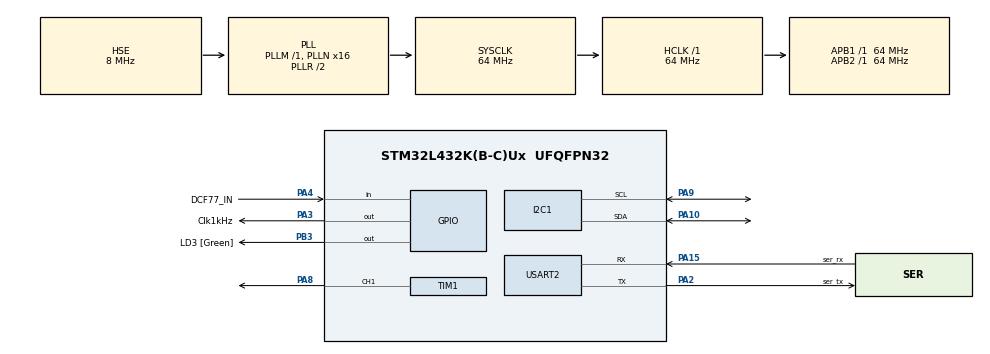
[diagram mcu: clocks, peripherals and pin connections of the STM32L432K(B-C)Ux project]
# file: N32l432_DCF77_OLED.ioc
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I2C1.Timing=0x10707DBC
Mcu.Family=STM32L4
Mcu.Name=STM32L432K(B-C)Ux
Mcu.Package=UFQFPN32
NVIC.PriorityGroup=NVIC_PRIORITYGROUP_4
NVIC.TIM1_BRK_TIM15_IRQn=true\:0\:0\:false\:false\:true\:true\:true\:true
NVIC.TIM1_CC_IRQn=true\:0\:0\:false\:false\:true\:true\:true\:true
NVIC.TIM1_TRG_COM_IRQn=true\:0\:0\:false\:false\:true\:true\:true\:true
NVIC.TIM1_UP_TIM16_IRQn=true\:0\:0\:false\:true\:true\:1\:true\:true\:true
PA0.GPIO_Label=MCO [High speed clock in]
PA0.Mode=HSE-External-Clock-Source-for-LittleOrca
PA0.Signal=RCC_CK_IN
PA10.Mode=I2C
PA10.Signal=I2C1_SDA
PA13\ (JTMS-SWDIO).GPIO_Label=SWDIO
PA13\ (JTMS-SWDIO).Mode=Serial_Wire
PA13\ (JTMS-SWDIO).Signal=SYS_JTMS-SWDIO
PA14\ (JTCK-SWCLK).GPIO_Label=SWCLK
PA14\ (JTCK-SWCLK).Mode=Serial_Wire
PA14\ (JTCK-SWCLK).Signal=SYS_JTCK-SWCLK
PA15\ (JTDI).GPIO_Label=ser_rx
PA15\ (JTDI).Mode=Asynchronous
PA15\ (JTDI).Signal=USART2_RX
PA2.GPIO_Label=ser_tx
PA2.Mode=Asynchronous
PA2.Signal=USART2_TX
PA3.GPIO_Label=Clk1kHz
PA3.Signal=GPIO_Output
PA4.GPIO_Label=DCF77_IN
PA4.Signal=GPIO_Input
PA8.Signal=S_TIM1_CH1
PA9.Mode=I2C
PA9.Signal=I2C1_SCL
PB3\ (JTDO-TRACESWO).GPIO_Label=LD3 [Green]
PB3\ (JTDO-TRACESWO).Signal=GPIO_Output
ProjectManager.HeapSize=0x200
ProjectManager.StackSize=0x400
ProjectManager.TargetToolchain=STM32CubeIDE
RCC.ADCFreq_Value=32000000
RCC.AHBFreq_Value=64000000
RCC.APB1Freq_Value=64000000
RCC.APB1TimFreq_Value=64000000
RCC.APB2Freq_Value=64000000
RCC.APB2TimFreq_Value=64000000
RCC.CortexFreq_Value=64000000
RCC.HCLKFreq_Value=64000000
RCC.HSE_VALUE=8000000
RCC.HSI16_VALUE=16000000
RCC.HSI48_VALUE=48000000
RCC.HSI_VALUE=16000000
RCC.LSE_VALUE=32768
RCC.MSI_VALUE=4000000
RCC.PLLMUL=RCC_PLLMUL_4
RCC.PLLN=16
RCC.PLLSourceVirtual=RCC_PLLSOURCE_HSE
RCC.SYSCLKFreq_VALUE=64000000
RCC.SYSCLKSource=RCC_SYSCLKSOURCE_PLLCLK
RCC.USBFreq_Value=32000000
RCC.VCOOutputFreq_Value=128000000
SH.S_TIM1_CH1.0=TIM1_CH1,Output Compare1 CH1
TIM1.AutoReloadPreload=TIM_AUTORELOAD_PRELOAD_ENABLE
TIM1.Channel-Output\ Compare1\ CH1=TIM_CHANNEL_1
TIM1.Period=1000
TIM1.Prescaler=64
USART2.VirtualMode-Asynchronous=VM_ASYNC
VP_TIM1_VS_ClockSourceINT.Mode=Internal
board=NUCLEO-L432KC

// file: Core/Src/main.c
/* USER CODE BEGIN Header */
/**
  ******************************************************************************
  * @file           : main.c
  * @brief          : Main program body
  ******************************************************************************
  * @attention
  *
  * Copyright (c) 2022 STMicroelectronics.
  * All rights reserved.
  *
  * This software is licensed under terms that can be found in the LICENSE file
  * in the root directory of this software component.
  * If no LICENSE file comes with this software, it is provided AS-IS.
  *
  ******************************************************************************
  */
/* USER CODE END Header */
#include "main.h"

/* USER CODE BEGIN Includes */
#include  "stdbool.h"
#include "serial.h"

/* USER CODE END Includes */

 I2C_HandleTypeDef hi2c1;

TIM_HandleTypeDef htim1;

UART_HandleTypeDef huart2;

void SystemClock_Config(void);
static void MX_GPIO_Init(void);
static void MX_USART2_UART_Init(void);
static void MX_I2C1_Init(void);
static void MX_TIM1_Init(void);
static void MX_NVIC_Init(void);
/* USER CODE BEGIN PFP */
static sio_t ser_io = {
#if defined(UART_TEST)
        .uart = &huart1,
#else
        .uart = &huart2,
#endif
        .ready = {true, true},
        .buffer_size = {0,0},
        .bytes_in_buffer={0,0},
        .buffer = {NULL, NULL},
};

/* USER CODE END PFP */

/* USER CODE BEGIN 0 */
void TIM1_UP_TIM16_IRQHandler(TIM_HandleTypeDef* htim)
{
    HAL_GPIO_TogglePin(Clk1kHz_GPIO_Port, Clk1kHz_Pin);
}
/* USER CODE END 0 */

int main(void)
{

  /* MCU Configuration--------------------------------------------------------*/

  /* Reset of all peripherals, Initializes the Flash interface and the Systick. */
  HAL_Init();
  serial_init(&ser_io);

  /* Configure the system clock */
  SystemClock_Config();

  /* Initialize all configured peripherals */
  MX_GPIO_Init();
  MX_USART2_UART_Init();
  MX_I2C1_Init();
  MX_TIM1_Init();

  /* Initialize interrupts */
  MX_NVIC_Init();
  /* USER CODE BEGIN 2 */
  HAL_TIM_Base_Start_IT(&htim1);
  /* USER CODE END 2 */

  /* Infinite loop */
  while (1)
  {

  }
}

void SystemClock_Config(void)
{
  RCC_OscInitTypeDef RCC_OscInitStruct = {0};
  RCC_ClkInitTypeDef RCC_ClkInitStruct = {0};

  /** Configure the main internal regulator output voltage
  */
  if (HAL_PWREx_ControlVoltageScaling(PWR_REGULATOR_VOLTAGE_SCALE1) != HAL_OK)
  {
    Error_Handler();
  }

  /** Initializes the RCC Oscillators according to the specified parameters
  * in the RCC_OscInitTypeDef structure.
  */
  RCC_OscInitStruct.OscillatorType = RCC_OSCILLATORTYPE_HSE;
  RCC_OscInitStruct.HSEState = RCC_HSE_BYPASS;
  RCC_OscInitStruct.PLL.PLLState = RCC_PLL_ON;
  RCC_OscInitStruct.PLL.PLLSource = RCC_PLLSOURCE_HSE;
  RCC_OscInitStruct.PLL.PLLM = 1;
  RCC_OscInitStruct.PLL.PLLN = 16;
  RCC_OscInitStruct.PLL.PLLP = RCC_PLLP_DIV7;
  RCC_OscInitStruct.PLL.PLLQ = RCC_PLLQ_DIV2;
  RCC_OscInitStruct.PLL.PLLR = RCC_PLLR_DIV2;
  if (HAL_RCC_OscConfig(&RCC_OscInitStruct) != HAL_OK)
  {
    Error_Handler();
  }

  /** Initializes the CPU, AHB and APB buses clocks
  */
  RCC_ClkInitStruct.ClockType = RCC_CLOCKTYPE_HCLK|RCC_CLOCKTYPE_SYSCLK
                              |RCC_CLOCKTYPE_PCLK1|RCC_CLOCKTYPE_PCLK2;
  RCC_ClkInitStruct.SYSCLKSource = RCC_SYSCLKSOURCE_PLLCLK;
  RCC_ClkInitStruct.AHBCLKDivider = RCC_SYSCLK_DIV1;
  RCC_ClkInitStruct.APB1CLKDivider = RCC_HCLK_DIV1;
  RCC_ClkInitStruct.APB2CLKDivider = RCC_HCLK_DIV1;

  if (HAL_RCC_ClockConfig(&RCC_ClkInitStruct, FLASH_LATENCY_3) != HAL_OK)
  {
    Error_Handler();
  }
}

/**
  * @brief NVIC Configuration.
  * @retval None
  */
static void MX_NVIC_Init(void)
{
  /* TIM1_UP_TIM16_IRQn interrupt configuration */
  HAL_NVIC_SetPriority(TIM1_UP_TIM16_IRQn, 0, 0);
  HAL_NVIC_EnableIRQ(TIM1_UP_TIM16_IRQn);
}

static void MX_I2C1_Init(void)
{

  hi2c1.Instance = I2C1;
  hi2c1.Init.Timing = 0x10707DBC;
  hi2c1.Init.OwnAddress1 = 0;
  hi2c1.Init.AddressingMode = I2C_ADDRESSINGMODE_7BIT;
  hi2c1.Init.DualAddressMode = I2C_DUALADDRESS_DISABLE;
  hi2c1.Init.OwnAddress2 = 0;
  hi2c1.Init.OwnAddress2Masks = I2C_OA2_NOMASK;
  hi2c1.Init.GeneralCallMode = I2C_GENERALCALL_DISABLE;
  hi2c1.Init.NoStretchMode = I2C_NOSTRETCH_DISABLE;
  if (HAL_I2C_Init(&hi2c1) != HAL_OK)
  {
    Error_Handler();
  }

  /** Configure Analogue filter
  */
  if (HAL_I2CEx_ConfigAnalogFilter(&hi2c1, I2C_ANALOGFILTER_ENABLE) != HAL_OK)
  {
    Error_Handler();
  }

  /** Configure Digital filter
  */
  if (HAL_I2CEx_ConfigDigitalFilter(&hi2c1, 0) != HAL_OK)
  {
    Error_Handler();
  }

}

static void MX_TIM1_Init(void)
{

  TIM_ClockConfigTypeDef sClockSourceConfig = {0};
  TIM_MasterConfigTypeDef sMasterConfig = {0};
  TIM_OC_InitTypeDef sConfigOC = {0};
  TIM_BreakDeadTimeConfigTypeDef sBreakDeadTimeConfig = {0};

  htim1.Instance = TIM1;
  htim1.Init.Prescaler = 64;
  htim1.Init.CounterMode = TIM_COUNTERMODE_UP;
  htim1.Init.Period = 1000;
  htim1.Init.ClockDivision = TIM_CLOCKDIVISION_DIV1;
  htim1.Init.RepetitionCounter = 0;
  htim1.Init.AutoReloadPreload = TIM_AUTORELOAD_PRELOAD_ENABLE;
  if (HAL_TIM_Base_Init(&htim1) != HAL_OK)
  {
    Error_Handler();
  }
  sClockSourceConfig.ClockSource = TIM_CLOCKSOURCE_INTERNAL;
  if (HAL_TIM_ConfigClockSource(&htim1, &sClockSourceConfig) != HAL_OK)
  {
    Error_Handler();
  }
  if (HAL_TIM_OC_Init(&htim1) != HAL_OK)
  {
    Error_Handler();
  }
  sMasterConfig.MasterOutputTrigger = TIM_TRGO_RESET;
  sMasterConfig.MasterOutputTrigger2 = TIM_TRGO2_RESET;
  sMasterConfig.MasterSlaveMode = TIM_MASTERSLAVEMODE_DISABLE;
  if (HAL_TIMEx_MasterConfigSynchronization(&htim1, &sMasterConfig) != HAL_OK)
  {
    Error_Handler();
  }
  sConfigOC.OCMode = TIM_OCMODE_TIMING;
  sConfigOC.Pulse = 0;
  sConfigOC.OCPolarity = TIM_OCPOLARITY_HIGH;
  sConfigOC.OCNPolarity = TIM_OCNPOLARITY_HIGH;
  sConfigOC.OCFastMode = TIM_OCFAST_DISABLE;
  sConfigOC.OCIdleState = TIM_OCIDLESTATE_RESET;
  sConfigOC.OCNIdleState = TIM_OCNIDLESTATE_RESET;
  if (HAL_TIM_OC_ConfigChannel(&htim1, &sConfigOC, TIM_CHANNEL_1) != HAL_OK)
  {
    Error_Handler();
  }
  sBreakDeadTimeConfig.OffStateRunMode = TIM_OSSR_DISABLE;
  sBreakDeadTimeConfig.OffStateIDLEMode = TIM_OSSI_DISABLE;
  sBreakDeadTimeConfig.LockLevel = TIM_LOCKLEVEL_OFF;
  sBreakDeadTimeConfig.DeadTime = 0;
  sBreakDeadTimeConfig.BreakState = TIM_BREAK_DISABLE;
  sBreakDeadTimeConfig.BreakPolarity = TIM_BREAKPOLARITY_HIGH;
  sBreakDeadTimeConfig.BreakFilter = 0;
  sBreakDeadTimeConfig.Break2State = TIM_BREAK2_DISABLE;
  sBreakDeadTimeConfig.Break2Polarity = TIM_BREAK2POLARITY_HIGH;
  sBreakDeadTimeConfig.Break2Filter = 0;
  sBreakDeadTimeConfig.AutomaticOutput = TIM_AUTOMATICOUTPUT_DISABLE;
  if (HAL_TIMEx_ConfigBreakDeadTime(&htim1, &sBreakDeadTimeConfig) != HAL_OK)
  {
    Error_Handler();
  }
  HAL_TIM_MspPostInit(&htim1);

}

static void MX_USART2_UART_Init(void)
{

  huart2.Instance = USART2;
  huart2.Init.BaudRate = 115200;
  huart2.Init.WordLength = UART_WORDLENGTH_8B;
  huart2.Init.StopBits = UART_STOPBITS_1;
  huart2.Init.Parity = UART_PARITY_NONE;
  huart2.Init.Mode = UART_MODE_TX_RX;
  huart2.Init.HwFlowCtl = UART_HWCONTROL_NONE;
  huart2.Init.OverSampling = UART_OVERSAMPLING_16;
  huart2.Init.OneBitSampling = UART_ONE_BIT_SAMPLE_DISABLE;
  huart2.AdvancedInit.AdvFeatureInit = UART_ADVFEATURE_NO_INIT;
  if (HAL_UART_Init(&huart2) != HAL_OK)
  {
    Error_Handler();
  }

}

static void MX_GPIO_Init(void)
{
  GPIO_InitTypeDef GPIO_InitStruct = {0};

  /* GPIO Ports Clock Enable */
  __HAL_RCC_GPIOA_CLK_ENABLE();
  __HAL_RCC_GPIOB_CLK_ENABLE();

  /*Configure GPIO pin Output Level */
  HAL_GPIO_WritePin(Clk1kHz_GPIO_Port, Clk1kHz_Pin, GPIO_PIN_RESET);

  /*Configure GPIO pin Output Level */
  HAL_GPIO_WritePin(LD3_GPIO_Port, LD3_Pin, GPIO_PIN_RESET);

  /*Configure GPIO pin : Clk1kHz_Pin */
  GPIO_InitStruct.Pin = Clk1kHz_Pin;
  GPIO_InitStruct.Mode = GPIO_MODE_OUTPUT_PP;
  GPIO_InitStruct.Pull = GPIO_NOPULL;
  GPIO_InitStruct.Speed = GPIO_SPEED_FREQ_LOW;
  HAL_GPIO_Init(Clk1kHz_GPIO_Port, &GPIO_InitStruct);

  /*Configure GPIO pin : DCF77_IN_Pin */
  GPIO_InitStruct.Pin = DCF77_IN_Pin;
  GPIO_InitStruct.Mode = GPIO_MODE_INPUT;
  GPIO_InitStruct.Pull = GPIO_NOPULL;
  HAL_GPIO_Init(DCF77_IN_GPIO_Port, &GPIO_InitStruct);

  /*Configure GPIO pin : LD3_Pin */
  GPIO_InitStruct.Pin = LD3_Pin;
  GPIO_InitStruct.Mode = GPIO_MODE_OUTPUT_PP;
  GPIO_InitStruct.Pull = GPIO_NOPULL;
  GPIO_InitStruct.Speed = GPIO_SPEED_FREQ_LOW;
  HAL_GPIO_Init(LD3_GPIO_Port, &GPIO_InitStruct);

}

void Error_Handler(void)
{
  __disable_irq();
  while (1)
  {
  }
}
